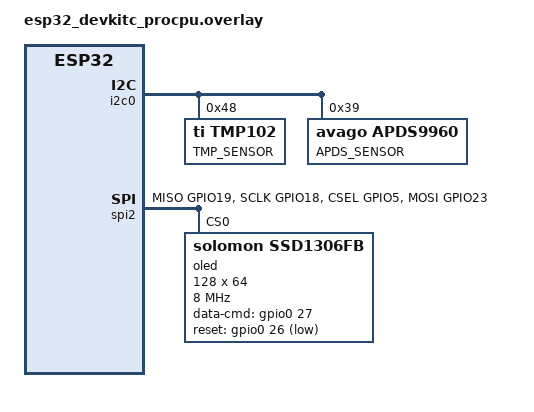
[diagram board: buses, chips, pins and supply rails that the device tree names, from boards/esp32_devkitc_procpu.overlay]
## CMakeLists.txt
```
cmake_minimum_required(VERSION 3.22.0)

set(ZEPHYR_EXTRA_MODULES "${CMAKE_SOURCE_DIR}/modules/tmp102")

find_package(Zephyr REQUIRED HINTS $ENV{ZEPHYR_BASE})

project(
    tmp102_driver
    DESCRIPTION "Zephyr driver for tmp102"
    LANGUAGES C
    VERSION 1.0
)

target_include_directories(
    app
    PRIVATE
    ${CMAKE_CURRENT_SOURCE_DIR}/src/config
)

target_sources(app PRIVATE src/main.c)
```

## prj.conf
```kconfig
CONFIG_I2C=y
CONFIG_I2C_STM32=y
CONFIG_I2C_ESP32=y
CONFIG_I2C_STM32_INTERRUPT=y
CONFIG_I2C_INIT_PRIORITY=50

CONFIG_SENSOR=y
CONFIG_SENSOR_INIT_PRIORITY=90
CONFIG_TMP102=y
CONFIG_APDS9960=y

CONFIG_SPI=y
CONFIG_LOG=y
CONFIG_LOG_MODE_DEFERRED=n
CONFIG_I2C_LOG_LEVEL_DBG=y

CONFIG_MAIN_STACK_SIZE=4096

CONFIG_DISPLAY=y
CONFIG_DISPLAY_LOG_LEVEL_DBG=y
CONFIG_SSD1306=y


CONFIG_LVGL=y
CONFIG_LV_Z_VDB_SIZE=64
CONFIG_LV_COLOR_DEPTH_1=y
CONFIG_LV_USE_CUSTOM_MALLOC=y
CONFIG_LV_Z_BITS_PER_PIXEL=1
CONFIG_LV_Z_MEM_POOL_SIZE=8192

CONFIG_LV_CONF_MINIMAL=y
CONFIG_LV_USE_LABEL=y
CONFIG_LV_LABEL_TEXT_SELECTION=y
CONFIG_LV_LABEL_LONG_TXT_HINT=y
CONFIG_LV_USE_LINE=y
CONFIG_LV_USE_THEME_MONO=y
```

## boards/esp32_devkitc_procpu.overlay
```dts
/ {
    chosen {
        zephyr,display = &oled;
    };

    aliases {
        tmp-sensor = &tmp102;
        apds-sensor = &apds9960;
        spi-2 = &spi2;
    };
};

&i2c0 {    
    tmp102: tmp102@48 {
        status = "okay";
        compatible = "ti,tmp102";
        reg = <0x48>;
        label = "TMP_SENSOR";
    };
    
    apds9960: apds9960@39 {
        status = "okay";
        compatible = "avago,apds9960";
        reg = <0x39>;
        label = "APDS_SENSOR";
    };
};

&spi2 {
    status = "okay";
    pinctrl-0 = <&spim2_custom>;

     oled: ssd1306@0 {
        compatible = "solomon,ssd1306fb";
        reg = <0x0>;
        spi-max-frequency = <8000000>;
        width = <128>;
        height = <64>;
        segment-offset = <0>;
		page-offset = <0>;
		display-offset = <0>;
		multiplex-ratio = <63>;
        prechargep = <0x22>;
        segment-remap;
        // com-invdir;
        // inversion-on;
        data-cmd-gpios = <&gpio0 27 GPIO_ACTIVE_HIGH>;
        reset-gpios = <&gpio0 26 GPIO_ACTIVE_LOW>;
        // ready-time-ms = <100>;  /* SH1106G needs 100ms delay after init */
    };
};

&pinctrl {
    spim2_custom: spim2_custom {
		group1 {
			pinmux = <SPIM2_MISO_GPIO19>,
				 <SPIM2_SCLK_GPIO18>,
				 <SPIM2_CSEL_GPIO5>;
		};
		group2 {
			pinmux = <SPIM2_MOSI_GPIO23>;
			output-low;
		};
	};
};
```

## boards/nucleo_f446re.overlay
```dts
/ {
    chosen {
        zephyr,display = &oled;
    };

    aliases {
        tmp-sensor = &tmp102;
        apds-sensor = &apds9960;
    };
};

&i2c1 {
    status = "okay";

    tmp102: tmp102@49 {
        compatible = "ti,tmp102";
        reg = <0x49>;
        label = "TMP_SENSOR";
    };

    apds9960: apds9960@39 {
		status = "okay";
		compatible = "avago,apds9960";
		reg = <0x39>;
	};
};

&spi1 {
    status = "okay";

    oled: ssd1306@0 {
        compatible = "solomon,ssd1306fb";
        reg = <0x0>;
        spi-max-frequency = <8000000>;
        width = <128>;
        height = <64>;
        segment-offset = <0>;
		page-offset = <0>;
		display-offset = <0>;
		multiplex-ratio = <63>;
        prechargep = <0x22>;
        segment-remap;
        com-invdir;
        inversion-on;
        data-cmd-gpios = <&gpioa 8 GPIO_ACTIVE_HIGH>;
        reset-gpios = <&gpiob 3 GPIO_ACTIVE_LOW>;
        // ready-time-ms = <100>;  /* SH1106G needs 100ms delay after init */
    };
};

&usart1{
    current-speed = <9600>;
};
```

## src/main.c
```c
#include <zephyr/kernel.h>
#include <zephyr/sys/printk.h>
#include <zephyr/syscalls/device.h>
#include <zephyr/drivers/sensor.h>
#include <zephyr/drivers/display.h>

#include <lvgl.h>
#include <string.h>
#include <app_config.h>

K_THREAD_STACK_DEFINE(tmp102_stack, TMP102_THREAD_STACK_SIZE);
K_THREAD_STACK_DEFINE(tmp_output_stack, TMP_OUTPUT_THREAD_STACK_SIZE);
K_THREAD_STACK_DEFINE(apds9960_stack, APDS9960_THREAD_STACK_SIZE);
K_THREAD_STACK_DEFINE(light_intensity_stack, LIGHT_INTENSITY_THREAD_STACK_SIZE);

K_MSGQ_DEFINE(apds_msg_queue, sizeof(struct sensor_value), MSGQ_SIZE, 1);
K_MSGQ_DEFINE(tmp_msg_queue, sizeof(struct sensor_value), MSGQ_SIZE, 1);

const struct device* sensor = DEVICE_DT_GET(TMP102_NODE);
const struct device* general_sensor = DEVICE_DT_GET(APDS9960_NODE);

lv_obj_t *tmp_label;
lv_obj_t *light_intensity_label;

void tmp102_sample_thread_start(void* arg_1, void* arg_2, void* arg_3) {
    int ret;

    for (;;) {
        ret = sensor_sample_fetch(sensor);
        if (ret) {
            printk("Failed to fetch sample\r\n");
            continue;
        }

        struct sensor_value temp_value;

        ret = sensor_channel_get(sensor, SENSOR_CHAN_AMBIENT_TEMP, &temp_value);
		if (ret) {
			printk("sensor_channel_get failed ret %d\n", ret);
            continue;
		}
         
        ret = k_msgq_put(&tmp_msg_queue, &temp_value, K_FOREVER);
        if (ret < 0) {
            printk("Failed to put temp_value into msgq\r\n");
        }

		k_msleep(TMP102_THREAD_SLEEP_MS);
    }
}

void apds9960_sample_thread_start(void* arg1, void* arg2, void* arg3) {
    struct sensor_value intensity;
    int ret;

    for (;;) {
        ret = sensor_sample_fetch(general_sensor);
        if (ret) {
            printk("APDS9960 sensor_sample_fetch failed: %d\n", ret);
            continue;
        }

        ret = sensor_channel_get(general_sensor, SENSOR_CHAN_LIGHT, &intensity);
        if (ret < 0) {
            printk("failed to get light data: %d\n", ret);
        }

        ret = k_msgq_put(&apds_msg_queue, &intensity, K_FOREVER);
        if (ret < 0) {
            printk("Failed to put light_value into msgq\r\n");
        }
        
        k_msleep(APDS9960_THREAD_SLEEP_MS);
    }
}

void tmp_output_thread_start(void* arg1, void* arg2, void* arg3) {
    int ret;
    struct sensor_value tmp_val;

    for (;;) {
        ret = k_msgq_get(&tmp_msg_queue, &tmp_val, K_FOREVER);
        if (ret < 0) {
            printk("Failed to get temp_value from queue\r\n");
            continue;
        }

        char buffer[16];      
        sprintf(buffer, "Tmp: %dC", tmp_val.val1);
        printk("%s\n", buffer);
        lv_label_set_text(tmp_label, buffer);

        k_msleep(500);
    }
}

void light_intensity_output_thread_start(void* arg1, void* arg2, void* arg3) {
    int ret;
    struct sensor_value light_val;

    for (;;) {
        ret = k_msgq_get(&apds_msg_queue, &light_val, K_FOREVER);
        if (ret < 0) {
            printk("Failed to get light int\r\n");
            continue;
        }

        char buffer[16];
        sprintf(buffer, "Light: %d", light_val.val1);
        printk("%s\n", buffer);
        lv_label_set_text(light_intensity_label, buffer);

        k_msleep(500);
    }
}

int main(void) {
    struct sensor_value attr;
    int ret;

    if (!sensor || !general_sensor) {
        printk("A device was not found in the device tree\r\n");
        return 0;
    }

    if (!device_is_ready(sensor) || !device_is_ready(general_sensor)) {
        printk("A device not ready\r\n");
        return 0;
    }

    attr.val1 = 128;
    attr.val2 = 0;

    // set celcius temp range to measure
    ret = sensor_attr_set(
        sensor,
        SENSOR_CHAN_AMBIENT_TEMP,
        SENSOR_ATTR_FULL_SCALE,
        &attr
    );

    if (ret < 0) {
        printk("Failed to get sensor scale\r\n");
    }

    attr.val1 = 8;
	attr.val2 = 0;

    ret = sensor_attr_set(
        sensor,
        SENSOR_CHAN_AMBIENT_TEMP,
        SENSOR_ATTR_SAMPLING_FREQUENCY,
        &attr
    );

    if (ret < 0) {
        printk("Failed to set sensor sampling frequency\r\n");
        return 0;
    }

    attr.val1 = 1;
    attr.val2 = 0;
    ret = sensor_attr_set(general_sensor, SENSOR_CHAN_LIGHT, SENSOR_ATTR_SAMPLING_FREQUENCY, &attr);
    if (ret < 0) {
        printk("Failed to enable ALS: %d\n", ret);
    }

    // // Enable Proximity
    // ret = sensor_attr_set(general_sensor, SENSOR_CHAN_PROX, SENSOR_ATTR_SAMPLING_FREQUENCY, &attr);
    // if (ret) {
    //     printk("Failed to enable proximity: %d\n", ret);
    // }

    // Set ALS gain (optional but recommended)
    attr.val1 = 1; // 1x gain
    ret = sensor_attr_set(general_sensor, SENSOR_CHAN_LIGHT, SENSOR_ATTR_GAIN, &attr);

    struct k_thread tmp102_sample_thread;
    k_tid_t tmp102_sample_tid = k_thread_create(
        &tmp102_sample_thread,
        tmp102_stack,
        K_THREAD_STACK_SIZEOF(tmp102_stack),
        tmp102_sample_thread_start,
        NULL,
        NULL,
        NULL,
        7,
        0,
        K_NO_WAIT
    );

    if (tmp102_sample_tid < 0) {
        printk("Failed to create tmp102 thread\r\n");
        return 0;
    }

    struct k_thread apds9960_sample_thread;
    k_tid_t apds9960_output_tid = k_thread_create(
        &apds9960_sample_thread,
        apds9960_stack,
        K_THREAD_STACK_SIZEOF(apds9960_stack),
        apds9960_sample_thread_start,
        NULL,
        NULL,
        NULL,
        7,
        0,
        K_NO_WAIT
    );

    if (apds9960_output_tid < 0) {
        printk("Failed to create apds thread\r\n");
        return 0;
    }

    struct k_thread tmp_output_thread;

    k_tid_t tmp_output_tid = k_thread_create(
        &tmp_output_thread,
        tmp_output_stack,
        K_THREAD_STACK_SIZEOF(tmp_output_stack),
        tmp_output_thread_start,
        NULL,
        NULL,
        NULL,
        7,
        0,
        K_NO_WAIT
    );

    if (tmp_output_tid < 0) {
        printk("Failed to create serial output thread\r\n");
        return 0;
    }

    struct k_thread light_output_thread;

     k_tid_t light_output_tid = k_thread_create(
        &light_output_thread,
        light_intensity_stack,
        K_THREAD_STACK_SIZEOF(light_intensity_stack),
        light_intensity_output_thread_start,
        NULL,
        NULL,
        NULL,
        7,
        0,
        K_NO_WAIT
    );

    if (light_output_tid < 0) {
        printk("Failed to create serial output thread\r\n");
        return 0;
    }

    const struct device* display;

    display = DEVICE_DT_GET(DT_CHOSEN(zephyr_display));
    if (!display || !device_is_ready(display)) {
        printk("failed to find device or device not ready");
        return 0;
    }
    struct display_capabilities caps;
    display_get_capabilities(display, &caps);
    printk("Display: %dx%d, supported formats: 0x%x\n", 
        caps.x_resolution, caps.y_resolution, caps.supported_pixel_formats);
        
    // Create a simple label
    tmp_label = lv_label_create(lv_scr_act());
    lv_label_set_text(tmp_label, "Tmp: C");
    lv_obj_align(tmp_label, LV_ALIGN_TOP_LEFT, 0, 5);

    light_intensity_label = lv_label_create(lv_scr_act());
    lv_label_set_text(light_intensity_label, "Light: ");
    lv_obj_align(light_intensity_label, LV_ALIGN_LEFT_MID, 0, 5);

    lv_timer_handler();
    ret = display_blanking_off(display);
    if (ret < 0) {
        printk("failed to blank display\n");
    }

    // Simple loop
    for (;;) {
        uint32_t sleep_ms = lv_timer_handler();
        k_msleep(MIN(sleep_ms, 100));
    }

    return 0;
}
```
